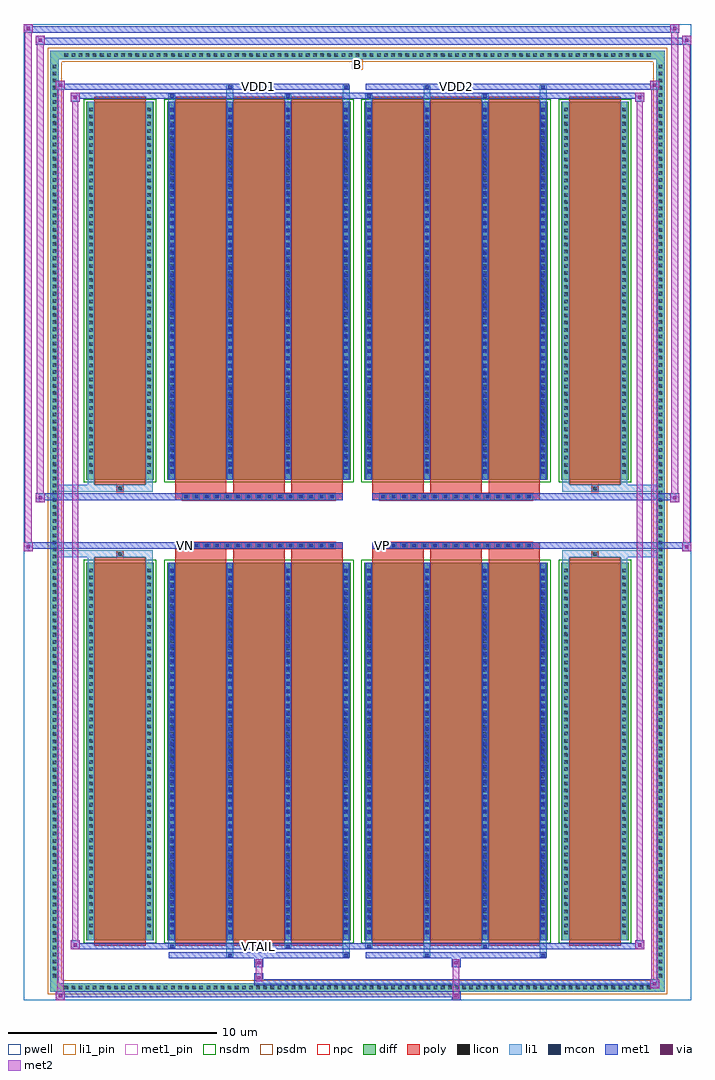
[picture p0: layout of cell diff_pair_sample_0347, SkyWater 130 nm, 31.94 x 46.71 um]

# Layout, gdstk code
import gdstk
lib = gdstk.Library(unit=1e-6, precision=5e-09)
def R(c, l, rs):  # rectangles x0, y0, x1, y1
    for r in rs: c.add(gdstk.rectangle(r[:2], r[2:], *l))
def A(c, l, x, y, w, h, nx, ny, dx, dy):  # array of equal rectangles
    R(c, l, [(x+i*dx, y+j*dy, x+i*dx+w, y+j*dy+h) for i in range(nx) for j in range(ny)])
def P(c, l, *ps):  # polygons
    for p in ps: c.add(gdstk.Polygon(p, *l))
pwell = (64, 44)
diff = (65, 20)
poly = (66, 20)
licon = (66, 44)
li1_pin = (67, 16)
li1 = (67, 20)
mcon = (67, 44)
met1_pin = (68, 16)
met1 = (68, 20)
via = (68, 44)
met2 = (69, 20)
nsdm = (93, 44)
psdm = (94, 20)
npc = (95, 20)

diff_pair_sample_0347 = lib.new_cell('diff_pair_sample_0347')
R(diff_pair_sample_0347, pwell, [(-15.97,-22.92,15.97,23.79), (-13.29,-21.11,-0.01,-0.805), (0.01,-21.11,13.29,-0.805), (-13.29,0.805,-0.01,21.11), (0.01,0.805,13.29,21.11)])
A(diff_pair_sample_0347, diff, -14.145, -22.52, 0.41, 0.41, 83, 2, 0.34, 44.63)
A(diff_pair_sample_0347, diff, -14.7, -21.965, 0.41, 0.41, 1, 129, 0, 0.34)
A(diff_pair_sample_0347, diff, 14.29, -21.965, 0.41, 0.41, 1, 129, 0, 0.34)
R(diff_pair_sample_0347, diff, [(-14.145,-22.52,14.145,-22.11), (-14.7,-21.965,-14.29,21.965), (14.29,-21.965,14.7,21.965), (-12.98,-20.065,-9.75,-1.985), (-9.11,-20.065,-0.32,-1.985), (0.32,-20.065,9.11,-1.985), (9.75,-20.065,12.98,-1.985), (-12.98,1.985,-9.75,20.065), (-9.11,1.985,-0.32,20.065), (0.32,1.985,9.11,20.065), (9.75,1.985,12.98,20.065), (-14.145,22.11,14.145,22.52)])
P(diff_pair_sample_0347, diff, [(14.7,22.52),(-14.7,22.52),(-14.7,-22.11),(-14.29,-22.11),(-14.29,22.11),(14.29,22.11),(14.29,-22.11),(-14.29,-22.11),(-14.7,-22.11),(-14.7,-22.52),(14.7,-22.52)])
A(diff_pair_sample_0347, poly, -8.72, -20.315, 2.45, 18.58, 3, 2, 2.78, 22.05)
A(diff_pair_sample_0347, poly, 0.71, -20.315, 2.45, 18.58, 3, 2, 2.78, 22.05)
A(diff_pair_sample_0347, poly, -8.72, -1.735, 2.45, 0.4, 3, 2, 2.78, 3.07)
A(diff_pair_sample_0347, poly, 0.71, -1.735, 2.45, 0.4, 3, 2, 2.78, 3.07)
A(diff_pair_sample_0347, poly, -8.38, -1.335, 0.33, 0.33, 15, 2, 0.5, 2.34)
A(diff_pair_sample_0347, poly, 1.05, -1.335, 0.33, 0.33, 15, 2, 0.5, 2.34)
R(diff_pair_sample_0347, poly, [(-12.59,-20.315,-10.14,-1.735), (10.14,-20.315,12.59,-1.735), (-11.53,-1.735,-11.2,-1.405), (-11.53,-1.735,-11.2,-1.405), (11.2,-1.735,11.53,-1.405), (11.2,-1.735,11.53,-1.405), (-8.72,-1.335,-0.71,-1.005), (0.71,-1.335,8.72,-1.005), (-8.72,1.005,-0.71,1.335), (0.71,1.005,8.72,1.335), (-11.53,1.405,-11.2,1.735), (-11.53,1.405,-11.2,1.735), (11.2,1.405,11.53,1.735), (11.2,1.405,11.53,1.735), (-12.59,1.735,-10.14,20.315), (10.14,1.735,12.59,20.315)])
A(diff_pair_sample_0347, licon, -14.025, -22.4, 0.17, 0.17, 83, 2, 0.34, 44.63)
A(diff_pair_sample_0347, licon, -14.58, -21.845, 0.17, 0.17, 1, 129, 0, 0.34)
A(diff_pair_sample_0347, licon, 14.41, -21.845, 0.17, 0.17, 1, 129, 0, 0.34)
A(diff_pair_sample_0347, licon, -12.84, -19.78, 0.17, 0.17, 1, 52, 0, 0.34)
A(diff_pair_sample_0347, licon, -10.06, -19.78, 0.17, 0.17, 1, 52, 0, 0.34)
A(diff_pair_sample_0347, licon, -8.97, -19.78, 0.17, 0.17, 4, 52, 2.78, 0.34)
A(diff_pair_sample_0347, licon, 0.46, -19.78, 0.17, 0.17, 4, 52, 2.78, 0.34)
A(diff_pair_sample_0347, licon, 9.89, -19.78, 0.17, 0.17, 1, 52, 0, 0.34)
A(diff_pair_sample_0347, licon, 12.67, -19.78, 0.17, 0.17, 1, 52, 0, 0.34)
A(diff_pair_sample_0347, licon, -8.3, -1.255, 0.17, 0.17, 15, 2, 0.5, 2.34)
A(diff_pair_sample_0347, licon, 1.13, -1.255, 0.17, 0.17, 15, 2, 0.5, 2.34)
A(diff_pair_sample_0347, licon, -12.84, 2.27, 0.17, 0.17, 1, 52, 0, 0.34)
A(diff_pair_sample_0347, licon, -10.06, 2.27, 0.17, 0.17, 1, 52, 0, 0.34)
A(diff_pair_sample_0347, licon, -8.97, 2.27, 0.17, 0.17, 4, 52, 2.78, 0.34)
A(diff_pair_sample_0347, licon, 0.46, 2.27, 0.17, 0.17, 4, 52, 2.78, 0.34)
A(diff_pair_sample_0347, licon, 9.89, 2.27, 0.17, 0.17, 1, 52, 0, 0.34)
A(diff_pair_sample_0347, licon, 12.67, 2.27, 0.17, 0.17, 1, 52, 0, 0.34)
R(diff_pair_sample_0347, licon, [(-11.45,-1.655,-11.28,-1.485), (11.28,-1.655,11.45,-1.485), (-11.45,1.485,-11.28,1.655), (11.28,1.485,11.45,1.655)])
R(diff_pair_sample_0347, li1_pin, [(-0.25,21.61,0.25,22.11)])
A(diff_pair_sample_0347, li1, -14.105, -22.48, 0.33, 0.33, 83, 2, 0.34, 44.63)
A(diff_pair_sample_0347, li1, -14.66, -21.925, 0.33, 0.33, 1, 129, 0, 0.34)
A(diff_pair_sample_0347, li1, 14.33, -21.925, 0.33, 0.33, 1, 129, 0, 0.34)
A(diff_pair_sample_0347, li1, -9.05, -20.065, 0.33, 18.08, 4, 2, 2.78, 22.05)
A(diff_pair_sample_0347, li1, 0.38, -20.065, 0.33, 18.08, 4, 2, 2.78, 22.05)
A(diff_pair_sample_0347, li1, -12.92, -19.86, 0.33, 0.33, 1, 52, 0, 0.34)
A(diff_pair_sample_0347, li1, -10.14, -19.86, 0.33, 0.33, 1, 52, 0, 0.34)
A(diff_pair_sample_0347, li1, -9.05, -19.86, 0.33, 0.33, 4, 52, 2.78, 0.34)
A(diff_pair_sample_0347, li1, 0.38, -19.86, 0.33, 0.33, 4, 52, 2.78, 0.34)
A(diff_pair_sample_0347, li1, 9.81, -19.86, 0.33, 0.33, 1, 52, 0, 0.34)
A(diff_pair_sample_0347, li1, 12.59, -19.86, 0.33, 0.33, 1, 52, 0, 0.34)
A(diff_pair_sample_0347, li1, -8.97, -19.75, 0.17, 0.17, 4, 49, 2.78, 0.36)
A(diff_pair_sample_0347, li1, -8.97, -19.75, 0.17, 17.45, 4, 2, 2.78, 22.05)
A(diff_pair_sample_0347, li1, 0.46, -19.75, 0.17, 0.17, 4, 49, 2.78, 0.36)
A(diff_pair_sample_0347, li1, 0.46, -19.75, 0.17, 17.45, 4, 2, 2.78, 22.05)
A(diff_pair_sample_0347, li1, -8.38, -1.335, 0.33, 0.33, 15, 2, 0.5, 2.34)
A(diff_pair_sample_0347, li1, 1.05, -1.335, 0.33, 0.33, 15, 2, 0.5, 2.34)
A(diff_pair_sample_0347, li1, -12.92, 2.19, 0.33, 0.33, 1, 52, 0, 0.34)
A(diff_pair_sample_0347, li1, -10.14, 2.19, 0.33, 0.33, 1, 52, 0, 0.34)
A(diff_pair_sample_0347, li1, -9.05, 2.19, 0.33, 0.33, 4, 52, 2.78, 0.34)
A(diff_pair_sample_0347, li1, 0.38, 2.19, 0.33, 0.33, 4, 52, 2.78, 0.34)
A(diff_pair_sample_0347, li1, 9.81, 2.19, 0.33, 0.33, 1, 52, 0, 0.34)
A(diff_pair_sample_0347, li1, 12.59, 2.19, 0.33, 0.33, 1, 52, 0, 0.34)
A(diff_pair_sample_0347, li1, -8.97, 2.3, 0.17, 0.17, 4, 49, 2.78, 0.36)
A(diff_pair_sample_0347, li1, 0.46, 2.3, 0.17, 0.17, 4, 49, 2.78, 0.36)
R(diff_pair_sample_0347, li1, [(-14.7,-22.52,-14.29,-22.11), (-14.7,-22.52,-14.29,-22.11), (-14.29,-22.52,14.29,-22.11), (14.29,-22.52,14.7,-22.11), (14.29,-22.52,14.7,-22.11), (-14.7,-22.11,-14.29,22.11), (14.29,-22.11,14.7,22.11), (-6.27,-20.87,-5.94,-20.065), (-6.19,-20.87,-6.02,-20.7), (-0.71,-20.87,-0.38,-20.065), (-0.63,-20.87,-0.46,-20.7), (3.16,-20.87,3.49,-20.065), (3.24,-20.87,3.41,-20.7), (8.72,-20.87,9.05,-20.065), (8.8,-20.87,8.97,-20.7), (-9.05,-20.44,-8.72,-20.065), (-8.97,-20.44,-8.8,-20.27), (-3.49,-20.44,-3.16,-20.065), (-3.41,-20.44,-3.24,-20.27), (0.38,-20.44,0.71,-20.065), (0.46,-20.44,0.63,-20.27), (5.94,-20.44,6.27,-20.065), (6.02,-20.44,6.19,-20.27), (-12.92,-20.065,-12.59,-1.985), (-10.14,-20.065,-9.81,-1.985), (9.81,-20.065,10.14,-1.985), (12.59,-20.065,12.92,-1.985), (-12.92,-1.985,-12.59,-1.405), (-10.14,-1.985,-9.81,-1.405), (9.81,-1.985,10.14,-1.405), (12.59,-1.985,12.92,-1.405), (-14.7,-1.735,-11.53,-1.405), (-12.92,-1.735,-11.53,-1.405), (-11.53,-1.735,-11.2,-1.405), (-11.2,-1.735,-9.81,-1.405), (9.81,-1.735,11.2,-1.405), (11.2,-1.735,11.53,-1.405), (11.2,-1.735,14.7,-1.405), (11.53,-1.735,12.92,-1.405), (-14.7,1.405,-11.53,1.735), (-12.92,1.405,-11.53,1.735), (-12.92,1.405,-12.59,1.985), (-11.53,1.405,-11.2,1.735), (-11.2,1.405,-9.81,1.735), (-10.14,1.405,-9.81,1.985), (9.81,1.405,11.2,1.735), (9.81,1.405,10.14,1.985), (11.2,1.405,11.53,1.735), (11.2,1.405,14.7,1.735), (11.53,1.405,12.92,1.735), (12.59,1.405,12.92,1.985), (-12.92,1.985,-12.59,20.065), (-10.14,1.985,-9.81,20.065), (9.81,1.985,10.14,20.065), (12.59,1.985,12.92,20.065), (-9.05,20.065,-8.72,20.44), (-6.27,20.065,-5.94,20.87), (-3.49,20.065,-3.16,20.44), (-0.71,20.065,-0.38,20.87), (0.38,20.065,0.71,20.44), (3.16,20.065,3.49,20.87), (5.94,20.065,6.27,20.44), (8.72,20.065,9.05,20.87), (-8.97,20.27,-8.8,20.44), (-3.41,20.27,-3.24,20.44), (0.46,20.27,0.63,20.44), (6.02,20.27,6.19,20.44), (-6.19,20.7,-6.02,20.87), (-0.63,20.7,-0.46,20.87), (3.24,20.7,3.41,20.87), (8.8,20.7,8.97,20.87), (-14.7,22.11,-14.29,22.52), (-14.7,22.11,-14.29,22.52), (-14.29,22.11,14.29,22.52), (14.29,22.11,14.7,22.52), (14.29,22.11,14.7,22.52)])
A(diff_pair_sample_0347, mcon, -8.97, -19.75, 0.17, 0.17, 4, 49, 2.78, 0.36)
A(diff_pair_sample_0347, mcon, 0.46, -19.75, 0.17, 0.17, 4, 49, 2.78, 0.36)
A(diff_pair_sample_0347, mcon, -8.3, -1.255, 0.17, 0.17, 15, 2, 0.5, 2.34)
A(diff_pair_sample_0347, mcon, 1.13, -1.255, 0.17, 0.17, 15, 2, 0.5, 2.34)
A(diff_pair_sample_0347, mcon, -8.97, 2.3, 0.17, 0.17, 4, 49, 2.78, 0.36)
A(diff_pair_sample_0347, mcon, 0.46, 2.3, 0.17, 0.17, 4, 49, 2.78, 0.36)
R(diff_pair_sample_0347, mcon, [(-6.19,-20.87,-6.02,-20.7), (-0.63,-20.87,-0.46,-20.7), (3.24,-20.87,3.41,-20.7), (8.8,-20.87,8.97,-20.7), (-8.97,-20.44,-8.8,-20.27), (-3.41,-20.44,-3.24,-20.27), (0.46,-20.44,0.63,-20.27), (6.02,-20.44,6.19,-20.27), (-8.97,20.27,-8.8,20.44), (-3.41,20.27,-3.24,20.44), (0.46,20.27,0.63,20.44), (6.02,20.27,6.19,20.44), (-6.19,20.7,-6.02,20.87), (-0.63,20.7,-0.46,20.87), (3.24,20.7,3.41,20.87), (8.8,20.7,8.97,20.87)])
R(diff_pair_sample_0347, met1_pin, [(-4.85,-20.48,-4.58,-20.21), (-8.35,-1.295,-8.08,-1.025), (1.08,-1.295,1.35,-1.025), (-4.85,20.66,-4.58,20.93), (4.58,20.66,4.85,20.93)])
A(diff_pair_sample_0347, met1, -9.03, -20.065, 0.29, 18.08, 4, 2, 2.78, 22.05)
A(diff_pair_sample_0347, met1, 0.4, -20.065, 0.29, 18.08, 4, 2, 2.78, 22.05)
A(diff_pair_sample_0347, met1, -9.03, -19.81, 0.29, 0.29, 4, 49, 2.78, 0.36)
A(diff_pair_sample_0347, met1, 0.4, -19.81, 0.29, 0.29, 4, 49, 2.78, 0.36)
A(diff_pair_sample_0347, met1, -8.36, -1.315, 0.29, 0.29, 15, 2, 0.5, 2.34)
A(diff_pair_sample_0347, met1, 1.07, -1.315, 0.29, 0.29, 15, 2, 0.5, 2.34)
A(diff_pair_sample_0347, met1, -9.03, 2.24, 0.29, 0.29, 4, 49, 2.78, 0.36)
A(diff_pair_sample_0347, met1, 0.4, 2.24, 0.29, 0.29, 4, 49, 2.78, 0.36)
R(diff_pair_sample_0347, met1, [(-14.43,-22.92,-14,-22.49), (4.5,-22.92,4.93,-22.49), (-14.43,-22.78,4.93,-22.49), (14,-22.35,14.43,-21.92), (-4.93,-22.21,14.43,-21.92), (-4.93,-22.07,-4.5,-21.64), (-4.93,-21.36,-4.5,-20.93), (4.5,-21.36,4.93,-20.93), (-9.03,-20.93,-0.4,-20.64), (-6.25,-20.93,-5.96,-20.64), (-0.69,-20.93,-0.4,-20.64), (0.4,-20.93,9.03,-20.64), (3.18,-20.93,3.47,-20.64), (8.74,-20.93,9.03,-20.64), (-13.72,-20.5,-13.29,-20.07), (-13.72,-20.5,-9.03,-20.21), (-9.03,-20.5,-8.74,-20.21), (-9.03,-20.5,-0.4,-20.21), (-3.47,-20.5,-3.18,-20.21), (-0.4,-20.5,0.4,-20.21), (0.4,-20.5,0.69,-20.21), (0.4,-20.5,9.03,-20.21), (5.96,-20.5,6.25,-20.21), (9.03,-20.5,13.72,-20.21), (13.29,-20.5,13.72,-20.07), (-15.97,-1.435,-15.54,-1.005), (15.54,-1.435,15.97,-1.005), (-15.97,-1.335,-0.71,-1.005), (-8.72,-1.335,-0.71,-1.005), (0.71,-1.335,8.72,-1.005), (0.71,-1.335,15.97,-1.005), (-15.4,0.905,-14.97,1.335), (14.97,0.905,15.4,1.335), (-15.4,1.005,-8.72,1.335), (-8.72,1.005,-0.71,1.335), (0.71,1.005,8.72,1.335), (8.72,1.005,15.4,1.335), (-13.72,20.07,-13.29,20.5), (13.29,20.07,13.72,20.5), (-13.72,20.21,-9.03,20.5), (-9.03,20.21,-8.74,20.5), (-9.03,20.21,-0.4,20.5), (-3.47,20.21,-3.18,20.5), (-0.4,20.21,0.4,20.5), (0.4,20.21,0.69,20.5), (0.4,20.21,9.03,20.5), (5.96,20.21,6.25,20.5), (9.03,20.21,13.72,20.5), (-14.43,20.64,-14,21.07), (-14.43,20.64,-9.03,20.93), (-9.03,20.64,-0.4,20.93), (-6.25,20.64,-5.96,20.93), (-0.69,20.64,-0.4,20.93), (0.4,20.64,9.03,20.93), (3.18,20.64,3.47,20.93), (8.74,20.64,9.03,20.93), (9.03,20.64,14.43,20.93), (14,20.64,14.43,21.07), (-15.4,22.79,-14.97,23.22), (-15.4,22.79,-13.29,23.12), (-13.29,22.79,13.29,23.12), (13.29,22.79,15.97,23.12), (15.54,22.79,15.97,23.22), (-15.97,23.36,-15.54,23.79), (-15.97,23.36,-13.29,23.69), (-13.29,23.36,13.29,23.69), (13.29,23.36,15.4,23.69), (14.97,23.36,15.4,23.79)])
R(diff_pair_sample_0347, via, [(-14.29,-22.78,-14.14,-22.63), (4.64,-22.78,4.79,-22.63), (14.14,-22.21,14.29,-22.06), (-4.79,-21.93,-4.64,-21.78), (-4.79,-21.22,-4.64,-21.07), (4.64,-21.22,4.79,-21.07), (-13.58,-20.36,-13.43,-20.21), (13.43,-20.36,13.58,-20.21), (-15.83,-1.295,-15.68,-1.145), (15.68,-1.295,15.83,-1.145), (-15.26,1.045,-15.11,1.195), (15.11,1.045,15.26,1.195), (-13.58,20.21,-13.43,20.36), (13.43,20.21,13.58,20.36), (-14.29,20.78,-14.14,20.93), (14.14,20.78,14.29,20.93), (-15.26,22.93,-15.11,23.08), (15.68,22.93,15.83,23.08), (-15.83,23.5,-15.68,23.65), (15.11,23.5,15.26,23.65)])
R(diff_pair_sample_0347, met2, [(-14.43,-22.92,-14,-22.49), (-14.36,-22.92,-14.07,21.07), (-14.07,-22.92,-14,-22.49), (-14.38,-22.87,-14.05,-22.54), (4.55,-22.87,4.88,-22.54), (4.55,-22.54,4.88,-21.31), (14,-22.35,14.43,-21.92), (14.07,-22.35,14.36,21.07), (14.36,-22.35,14.43,-21.92), (14.05,-22.3,14.38,-21.97), (-4.88,-22.02,-4.55,-21.69), (-4.88,-21.69,-4.55,-21.31), (-4.88,-21.31,-4.55,-20.98), (4.55,-21.31,4.88,-20.98), (-13.72,-20.5,-13.29,-20.07), (-13.65,-20.5,-13.36,20.5), (-13.36,-20.5,-13.29,-20.07), (13.29,-20.5,13.72,-20.07), (13.36,-20.5,13.65,20.5), (13.65,-20.5,13.72,-20.07), (-13.67,-20.45,-13.34,-20.12), (13.34,-20.45,13.67,-20.12), (-15.97,-1.435,-15.54,-1.005), (-15.92,-1.435,-15.59,23.79), (-15.59,-1.435,-15.54,-1.005), (15.54,-1.435,15.97,-1.005), (15.59,-1.435,15.92,23.22), (15.92,-1.435,15.97,-1.005), (-15.92,-1.385,-15.59,-1.055), (15.59,-1.385,15.92,-1.055), (-15.4,0.905,-14.97,1.335), (-15.35,0.905,-15.02,23.22), (-15.02,0.905,-14.97,1.335), (14.97,0.905,15.4,1.335), (15.02,0.905,15.35,23.79), (15.35,0.905,15.4,1.335), (-15.35,0.955,-15.02,1.285), (15.02,0.955,15.35,1.285), (-13.72,20.07,-13.29,20.5), (-13.36,20.07,-13.29,20.5), (13.29,20.07,13.72,20.5), (13.65,20.07,13.72,20.5), (-13.67,20.12,-13.34,20.45), (13.34,20.12,13.67,20.45), (-14.43,20.64,-14,21.07), (-14.07,20.64,-14,21.07), (14,20.64,14.43,21.07), (14.36,20.64,14.43,21.07), (-14.38,20.69,-14.05,21.02), (14.05,20.69,14.38,21.02), (-15.4,22.79,-14.97,23.22), (-15.02,22.79,-14.97,23.22), (15.54,22.79,15.97,23.22), (15.92,22.79,15.97,23.22), (-15.35,22.84,-15.02,23.17), (15.59,22.84,15.92,23.17), (-15.97,23.36,-15.54,23.79), (-15.59,23.36,-15.54,23.79), (14.97,23.36,15.4,23.79), (15.35,23.36,15.4,23.79), (-15.92,23.41,-15.59,23.74), (15.02,23.41,15.35,23.74)])
R(diff_pair_sample_0347, nsdm, [(-13.11,-20.195,-9.62,-1.855), (-9.24,-20.195,-0.19,-1.855), (0.19,-20.195,9.24,-1.855), (9.62,-20.195,13.11,-1.855), (-13.11,1.855,-9.62,20.195), (-9.24,1.855,-0.19,20.195), (0.19,1.855,9.24,20.195), (9.62,1.855,13.11,20.195)])
P(diff_pair_sample_0347, psdm, [(14.83,22.65),(-14.83,22.65),(-14.83,-21.98),(-14.16,-21.98),(-14.16,21.98),(14.16,21.98),(14.16,-21.98),(-14.16,-21.98),(-14.83,-21.98),(-14.83,-22.65),(14.83,-22.65)])
A(diff_pair_sample_0347, npc, -8.4, -1.355, 0.37, 0.37, 15, 2, 0.5, 2.34)
A(diff_pair_sample_0347, npc, 1.03, -1.355, 0.37, 0.37, 15, 2, 0.5, 2.34)
R(diff_pair_sample_0347, npc, [(-11.55,-1.755,-11.18,-1.385), (11.18,-1.755,11.55,-1.385), (-8.4,-1.355,-7.53,-0.985), (-8.4,-1.355,-7.53,-0.985), (-7.9,-1.355,-7.03,-0.985), (-7.9,-1.355,-7.03,-0.985), (-7.4,-1.355,-6.53,-0.985), (-7.4,-1.355,-6.53,-0.985), (-6.9,-1.355,-6.03,-0.985), (-6.9,-1.355,-6.03,-0.985), (-6.4,-1.355,-5.53,-0.985), (-6.4,-1.355,-5.53,-0.985), (-5.9,-1.355,-5.03,-0.985), (-5.9,-1.355,-5.03,-0.985), (-5.4,-1.355,-4.53,-0.985), (-5.4,-1.355,-4.53,-0.985), (-4.9,-1.355,-4.03,-0.985), (-4.9,-1.355,-4.03,-0.985), (-4.4,-1.355,-3.53,-0.985), (-4.4,-1.355,-3.53,-0.985), (-3.9,-1.355,-3.03,-0.985), (-3.9,-1.355,-3.03,-0.985), (-3.4,-1.355,-2.53,-0.985), (-3.4,-1.355,-2.53,-0.985), (-2.9,-1.355,-2.03,-0.985), (-2.9,-1.355,-2.03,-0.985), (-2.4,-1.355,-1.53,-0.985), (-2.4,-1.355,-1.53,-0.985), (-1.9,-1.355,-1.03,-0.985), (-1.9,-1.355,-1.03,-0.985), (1.03,-1.355,1.9,-0.985), (1.03,-1.355,1.9,-0.985), (1.53,-1.355,2.4,-0.985), (1.53,-1.355,2.4,-0.985), (2.03,-1.355,2.9,-0.985), (2.03,-1.355,2.9,-0.985), (2.53,-1.355,3.4,-0.985), (2.53,-1.355,3.4,-0.985), (3.03,-1.355,3.9,-0.985), (3.03,-1.355,3.9,-0.985), (3.53,-1.355,4.4,-0.985), (3.53,-1.355,4.4,-0.985), (4.03,-1.355,4.9,-0.985), (4.03,-1.355,4.9,-0.985), (4.53,-1.355,5.4,-0.985), (4.53,-1.355,5.4,-0.985), (5.03,-1.355,5.9,-0.985), (5.03,-1.355,5.9,-0.985), (5.53,-1.355,6.4,-0.985), (5.53,-1.355,6.4,-0.985), (6.03,-1.355,6.9,-0.985), (6.03,-1.355,6.9,-0.985), (6.53,-1.355,7.4,-0.985), (6.53,-1.355,7.4,-0.985), (7.03,-1.355,7.9,-0.985), (7.03,-1.355,7.9,-0.985), (7.53,-1.355,8.4,-0.985), (7.53,-1.355,8.4,-0.985), (-8.4,0.985,-7.53,1.355), (-8.4,0.985,-7.53,1.355), (-7.9,0.985,-7.03,1.355), (-7.9,0.985,-7.03,1.355), (-7.4,0.985,-6.53,1.355), (-7.4,0.985,-6.53,1.355), (-6.9,0.985,-6.03,1.355), (-6.9,0.985,-6.03,1.355), (-6.4,0.985,-5.53,1.355), (-6.4,0.985,-5.53,1.355), (-5.9,0.985,-5.03,1.355), (-5.9,0.985,-5.03,1.355), (-5.4,0.985,-4.53,1.355), (-5.4,0.985,-4.53,1.355), (-4.9,0.985,-4.03,1.355), (-4.9,0.985,-4.03,1.355), (-4.4,0.985,-3.53,1.355), (-4.4,0.985,-3.53,1.355), (-3.9,0.985,-3.03,1.355), (-3.9,0.985,-3.03,1.355), (-3.4,0.985,-2.53,1.355), (-3.4,0.985,-2.53,1.355), (-2.9,0.985,-2.03,1.355), (-2.9,0.985,-2.03,1.355), (-2.4,0.985,-1.53,1.355), (-2.4,0.985,-1.53,1.355), (-1.9,0.985,-1.03,1.355), (-1.9,0.985,-1.03,1.355), (1.03,0.985,1.9,1.355), (1.03,0.985,1.9,1.355), (1.53,0.985,2.4,1.355), (1.53,0.985,2.4,1.355), (2.03,0.985,2.9,1.355), (2.03,0.985,2.9,1.355), (2.53,0.985,3.4,1.355), (2.53,0.985,3.4,1.355), (3.03,0.985,3.9,1.355), (3.03,0.985,3.9,1.355), (3.53,0.985,4.4,1.355), (3.53,0.985,4.4,1.355), (4.03,0.985,4.9,1.355), (4.03,0.985,4.9,1.355), (4.53,0.985,5.4,1.355), (4.53,0.985,5.4,1.355), (5.03,0.985,5.9,1.355), (5.03,0.985,5.9,1.355), (5.53,0.985,6.4,1.355), (5.53,0.985,6.4,1.355), (6.03,0.985,6.9,1.355), (6.03,0.985,6.9,1.355), (6.53,0.985,7.4,1.355), (6.53,0.985,7.4,1.355), (7.03,0.985,7.9,1.355), (7.03,0.985,7.9,1.355), (7.53,0.985,8.4,1.355), (7.53,0.985,8.4,1.355), (-11.55,1.385,-11.18,1.755), (11.18,1.385,11.55,1.755)])
diff_pair_sample_0347.add(gdstk.Label('VTAIL', (-4.715,-20.345), layer=68, texttype=5))
diff_pair_sample_0347.add(gdstk.Label('VN', (-8.215,-1.16), layer=68, texttype=5))
diff_pair_sample_0347.add(gdstk.Label('VP', (1.215,-1.16), layer=68, texttype=5))
diff_pair_sample_0347.add(gdstk.Label('B', (0,21.86), layer=67, texttype=5))
diff_pair_sample_0347.add(gdstk.Label('VDD2', (4.715,20.795), layer=68, texttype=5))
diff_pair_sample_0347.add(gdstk.Label('VDD1', (-4.715,20.795), layer=68, texttype=5))

lib.write_gds('diff_pair_sample_0347.gds')
